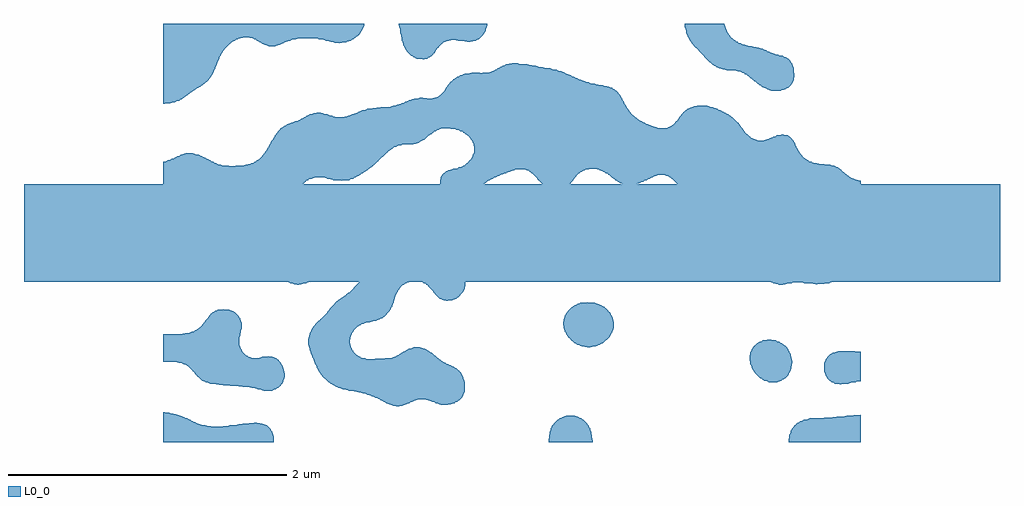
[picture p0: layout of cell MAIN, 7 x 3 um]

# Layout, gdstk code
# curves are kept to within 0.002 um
import gdstk
lib = gdstk.Library(unit=1e-6, precision=1e-09)
def R(c, l, rs):  # rectangles x0, y0, x1, y1
    for r in rs: c.add(gdstk.rectangle(r[:2], r[2:], *l))
def P(c, l, *ps):  # polygons
    for p in ps: c.add(gdstk.Polygon(p, *l))
L0_0 = (0, 0)

main = lib.new_cell('MAIN')
R(main, L0_0, [(-3.5,-0.35,3.5,0.35)])
P(main, L0_0, [(-2.48,0.929),(-2.456,0.93),(-2.413,0.94),(-2.369,0.96),(-2.28,1.025),(-2.22,1.06),(-2.196,1.08),(-2.16,1.119),(-2.15,1.136),(-2.13,1.177),(-2.127,1.19),(-2.12,1.2),(-2.115,1.22),(-2.1,1.25),(-2.098,1.26),(-2.069,1.31),(-2.04,1.342),(-2.01,1.368),(-1.96,1.395),(-1.91,1.405),(-1.89,1.404),(-1.86,1.397),(-1.775,1.35),(-1.745,1.34),(-1.73,1.339),(-1.698,1.34),(-1.665,1.35),(-1.618,1.37),(-1.61,1.376),(-1.58,1.386),(-1.53,1.396),(-1.5,1.398),(-1.41,1.396),(-1.35,1.386),(-1.3,1.37),(-1.24,1.362),(-1.22,1.364),(-1.184,1.37),(-1.158,1.38),(-1.11,1.41),(-1.08,1.447),(-1.06,1.489),(-1.058,1.5),(-2.5,1.5),(-2.5,0.928)],
  [(-0.63,1.246),(-0.608,1.25),(-0.589,1.26),(-0.559,1.29),(-0.538,1.32),(-0.51,1.351),(-0.49,1.367),(-0.47,1.377),(-0.42,1.386),(-0.32,1.372),(-0.3,1.372),(-0.259,1.38),(-0.25,1.387),(-0.24,1.39),(-0.217,1.41),(-0.2,1.431),(-0.18,1.478),(-0.177,1.5),(-0.813,1.5),(-0.793,1.41),(-0.79,1.383),(-0.784,1.37),(-0.78,1.348),(-0.76,1.309),(-0.721,1.27),(-0.704,1.26),(-0.68,1.249)],
  [(1.928,1.02),(1.958,1.03),(1.99,1.05),(2.01,1.074),(2.02,1.095),(2.024,1.13),(2.02,1.186),(2.01,1.213),(2,1.23),(1.981,1.25),(1.941,1.27),(1.88,1.284),(1.823,1.31),(1.81,1.313),(1.8,1.32),(1.77,1.33),(1.74,1.334),(1.721,1.34),(1.69,1.343),(1.63,1.362),(1.59,1.387),(1.565,1.41),(1.545,1.44),(1.532,1.47),(1.524,1.5),(1.238,1.5),(1.24,1.475),(1.246,1.46),(1.25,1.434),(1.27,1.389),(1.29,1.36),(1.394,1.25),(1.449,1.2),(1.488,1.18),(1.528,1.17),(1.6,1.166),(1.64,1.157),(1.68,1.137),(1.778,1.06),(1.83,1.03),(1.87,1.019)],
  [(-2.29,-0.081),(-2.27,-0.07),(-2.259,-0.06),(-2.24,-0.032),(-2.214,0.02),(-2.197,0.04),(-2.18,0.053),(-2.14,0.067),(-2.11,0.067),(-2.087,0.06),(-2.03,0.052),(-1.98,0.06),(-1.95,0.079),(-1.89,0.137),(-1.85,0.155),(-1.81,0.155),(-1.77,0.137),(-1.734,0.1),(-1.722,0.08),(-1.72,0.069),(-1.72,0.665),(-1.763,0.59),(-1.784,0.56),(-1.81,0.533),(-1.84,0.512),(-1.86,0.502),(-1.88,0.494),(-1.93,0.483),(-2.02,0.48),(-2.08,0.485),(-2.13,0.502),(-2.246,0.56),(-2.29,0.571),(-2.347,0.57),(-2.377,0.56),(-2.45,0.525),(-2.47,0.52),(-2.48,0.514),(-2.5,0.512),(-2.5,-0.012),(-2.48,-0.013),(-2.43,-0.032),(-2.352,-0.08),(-2.32,-0.085)],
  [(-1.51,-0.366),(-1.477,-0.36),(-1.429,-0.34),(-1.429,-0.03),(-1.445,0.01),(-1.45,0.031),(-1.47,0.074),(-1.537,0.16),(-1.549,0.19),(-1.552,0.23),(-1.545,0.27),(-1.538,0.29),(-1.517,0.33),(-1.5,0.35),(-1.47,0.377),(-1.45,0.388),(-1.429,0.394),(-1.429,0.857),(-1.451,0.85),(-1.54,0.803),(-1.585,0.79),(-1.631,0.77),(-1.657,0.75),(-1.676,0.73),(-1.7,0.699),(-1.72,0.665),(-1.72,0.069),(-1.714,0.06),(-1.704,0.01),(-1.702,-0.03),(-1.705,-0.08),(-1.71,-0.1),(-1.713,-0.16),(-1.71,-0.217),(-1.7,-0.25),(-1.68,-0.287),(-1.662,-0.31),(-1.629,-0.34),(-1.591,-0.36),(-1.54,-0.37)],
  [(-1.429,-0.678),(-1.45,-0.718),(-1.46,-0.758),(-1.46,-0.8),(-1.453,-0.82),(-1.45,-0.841),(-1.44,-0.87),(-1.433,-0.88),(-1.429,-0.896)],
  [(-1.17,0.379),(-1.14,0.39),(-1.14,0.851),(-1.2,0.832),(-1.25,0.831),(-1.28,0.835),(-1.289,0.84),(-1.31,0.843),(-1.324,0.85),(-1.34,0.852),(-1.359,0.86),(-1.4,0.862),(-1.429,0.857),(-1.429,0.394),(-1.4,0.399),(-1.37,0.399),(-1.34,0.396),(-1.281,0.38),(-1.22,0.374)],
  [(-1.42,-0.333),(-1.397,-0.32),(-1.373,-0.3),(-1.35,-0.272),(-1.34,-0.254),(-1.332,-0.22),(-1.331,-0.2),(-1.34,-0.163),(-1.35,-0.143),(-1.406,-0.07),(-1.429,-0.03),(-1.429,-0.34)],
  [(-1.14,-0.846),(-1.155,-0.82),(-1.164,-0.78),(-1.158,-0.74),(-1.14,-0.71),(-1.14,-0.4),(-1.18,-0.436),(-1.231,-0.47),(-1.267,-0.5),(-1.311,-0.55),(-1.333,-0.58),(-1.41,-0.655),(-1.429,-0.678),(-1.429,-0.896),(-1.4,-0.965),(-1.38,-1.001),(-1.337,-1.05),(-1.301,-1.08),(-1.284,-1.09),(-1.245,-1.11),(-1.215,-1.12),(-1.19,-1.123),(-1.17,-1.13),(-1.14,-1.133)],
  [(-1.139,0.39),(-1.07,0.429),(-1,0.479),(-0.91,0.565),(-0.91,0.902),(-0.97,0.9),(-1.039,0.89),(-1.1,0.87),(-1.11,0.863),(-1.14,0.851)],
  [(-1.135,-0.7),(-1.11,-0.674),(-1.08,-0.654),(-1.05,-0.643),(-0.975,-0.63),(-0.93,-0.61),(-0.91,-0.593),(-0.91,0.096),(-0.964,0.09),(-1.003,0.07),(-1.03,0.05),(-1.04,0.039),(-1.061,0.01),(-1.07,-0.009),(-1.08,-0.053),(-1.08,-0.083),(-1.07,-0.14),(-1.062,-0.16),(-1.06,-0.181),(-1.053,-0.2),(-1.052,-0.26),(-1.063,-0.3),(-1.074,-0.32),(-1.094,-0.35),(-1.14,-0.4),(-1.14,-0.71)],
  [(-0.91,-0.9),(-1.03,-0.905),(-1.08,-0.896),(-1.11,-0.878),(-1.14,-0.846),(-1.14,-1.133),(-1.09,-1.143),(-1.02,-1.163),(-0.97,-1.183),(-0.91,-1.214)],
  [(-0.904,0.57),(-0.86,0.606),(-0.82,0.626),(-0.77,0.636),(-0.69,0.64),(-0.646,0.66),(-0.614,0.684),(-0.614,0.966),(-0.661,0.97),(-0.71,0.961),(-0.767,0.94),(-0.78,0.932),(-0.84,0.913),(-0.89,0.903),(-0.91,0.902),(-0.91,0.565)],
  [(-0.907,-0.59),(-0.879,-0.56),(-0.861,-0.53),(-0.849,-0.5),(-0.836,-0.45),(-0.817,-0.41),(-0.78,-0.372),(-0.75,-0.355),(-0.7,-0.344),(-0.68,-0.344),(-0.64,-0.354),(-0.614,-0.37),(-0.614,0.119),(-0.65,0.102),(-0.68,0.094),(-0.76,0.081),(-0.81,0.08),(-0.91,0.096),(-0.91,-0.593)],
  [(-0.79,-1.24),(-0.758,-1.23),(-0.71,-1.205),(-0.68,-1.195),(-0.66,-1.192),(-0.614,-1.195),(-0.614,-0.837),(-0.627,-0.83),(-0.66,-0.82),(-0.705,-0.82),(-0.74,-0.83),(-0.83,-0.884),(-0.86,-0.896),(-0.91,-0.9),(-0.91,-1.214),(-0.881,-1.23),(-0.852,-1.24)],
  [(-0.61,0.688),(-0.56,0.725),(-0.54,0.736),(-0.51,0.747),(-0.45,0.75),(-0.411,0.746),(-0.411,1.107),(-0.43,1.092),(-0.46,1.06),(-0.484,1.02),(-0.52,0.983),(-0.54,0.972),(-0.57,0.965),(-0.614,0.966),(-0.614,0.684)],
  [(-0.44,-0.483),(-0.422,-0.48),(-0.411,-0.474),(-0.411,-0.24),(-0.437,-0.21),(-0.447,-0.19),(-0.456,-0.16),(-0.458,-0.14),(-0.456,-0.12),(-0.447,-0.09),(-0.437,-0.07),(-0.411,-0.033),(-0.411,0.461),(-0.457,0.45),(-0.49,0.43),(-0.5,0.417),(-0.51,0.4),(-0.513,0.38),(-0.512,0.28),(-0.514,0.26),(-0.523,0.23),(-0.543,0.19),(-0.565,0.16),(-0.59,0.135),(-0.614,0.119),(-0.614,-0.37),(-0.59,-0.391),(-0.551,-0.44),(-0.519,-0.47),(-0.49,-0.482),(-0.47,-0.485)],
  [(-0.44,-1.23),(-0.411,-1.22),(-0.411,-0.965),(-0.49,-0.927),(-0.52,-0.907),(-0.589,-0.85),(-0.614,-0.837),(-0.614,-1.195),(-0.515,-1.23)],
  [(-0.408,-0.03),(-0.37,0.02),(-0.34,0.078),(-0.338,0.09),(-0.33,0.107),(-0.326,0.13),(-0.32,0.141),(-0.318,0.16),(-0.31,0.178),(-0.306,0.2),(-0.296,0.23),(-0.277,0.27),(-0.257,0.3),(-0.239,0.32),(-0.21,0.347),(-0.18,0.368),(-0.18,1.15),(-0.22,1.147),(-0.28,1.15),(-0.346,1.14),(-0.392,1.12),(-0.411,1.107),(-0.411,0.746),(-0.36,0.728),(-0.34,0.717),(-0.31,0.693),(-0.284,0.66),(-0.271,0.62),(-0.271,0.59),(-0.275,0.57),(-0.283,0.55),(-0.302,0.52),(-0.33,0.493),(-0.35,0.481),(-0.39,0.465),(-0.411,0.461),(-0.411,-0.033)],
  [(-0.41,-0.473),(-0.4,-0.47),(-0.387,-0.46),(-0.35,-0.42),(-0.34,-0.4),(-0.336,-0.36),(-0.34,-0.328),(-0.35,-0.308),(-0.37,-0.282),(-0.411,-0.24)],
  [(-0.41,-1.219),(-0.379,-1.2),(-0.36,-1.18),(-0.35,-1.164),(-0.34,-1.14),(-0.338,-1.09),(-0.34,-1.067),(-0.35,-1.034),(-0.36,-1.014),(-0.38,-0.988),(-0.4,-0.97),(-0.411,-0.965)],
  [(-0.17,0.375),(-0.08,0.418),(-0.068,0.42),(-0.06,0.426),(-0.043,0.43),(0,0.448),(0.016,0.45),(0.03,0.456),(0.06,0.459),(0.09,0.457),(0.12,0.445),(0.15,0.424),(0.209,0.36),(0.247,0.33),(0.265,0.32),(0.295,0.31),(0.34,0.309),(0.374,0.32),(0.39,0.329),(0.413,0.35),(0.453,0.4),(0.48,0.428),(0.51,0.448),(0.53,0.457),(0.56,0.46),(0.61,0.458),(0.64,0.448),(0.673,0.43),(0.673,1.053),(0.649,1.06),(0.61,1.064),(0.53,1.084),(0.52,1.09),(0.48,1.102),(0.378,1.15),(0.352,1.16),(0.33,1.164),(0.32,1.17),(0.29,1.174),(0.273,1.18),(0.24,1.183),(0.22,1.19),(0.19,1.193),(0.167,1.2),(0.14,1.202),(0.111,1.21),(0.02,1.219),(-0.042,1.21),(-0.065,1.2),(-0.13,1.163),(-0.16,1.152),(-0.18,1.15),(-0.18,0.368)],
  [(0.89,0.35),(0.945,0.37),(1.02,0.407),(1.05,0.416),(1.09,0.417),(1.12,0.407),(1.12,0.757),(1.09,0.751),(1.04,0.756),(0.98,0.775),(0.92,0.804),(0.88,0.833),(0.844,0.87),(0.823,0.9),(0.781,0.98),(0.76,1.008),(0.748,1.02),(0.72,1.039),(0.693,1.05),(0.673,1.053),(0.673,0.43),(0.757,0.37),(0.797,0.35),(0.84,0.345)],
  [(1.12,0.11),(1.1,0.106),(1.06,0.113),(0.994,0.14),(0.94,0.141),(0.91,0.13),(0.88,0.101),(0.87,0.084),(0.86,0.053),(0.86,0.018),(0.869,-0.01),(0.88,-0.028),(0.9,-0.05),(0.933,-0.07),(0.962,-0.08),(1.03,-0.093),(1.08,-0.114),(1.12,-0.136)],
  [(1.95,-0.368),(2.05,-0.353),(2.07,-0.354),(2.095,-0.36),(2.18,-0.366),(2.274,-0.36),(2.31,-0.35),(2.32,-0.343),(2.332,-0.34),(2.38,-0.31),(2.4,-0.294),(2.44,-0.274),(2.47,-0.264),(2.5,-0.26),(2.5,0.047),(2.47,0.065),(2.456,0.08),(2.445,0.1),(2.442,0.12),(2.443,0.13),(2.452,0.15),(2.48,0.177),(2.5,0.187),(2.5,0.374),(2.46,0.384),(2.42,0.402),(2.39,0.424),(2.35,0.461),(2.319,0.48),(2.283,0.49),(2.2,0.495),(2.16,0.504),(2.13,0.516),(2.1,0.535),(2.074,0.56),(2.053,0.59),(2.03,0.641),(2.01,0.672),(1.992,0.69),(1.976,0.7),(1.94,0.707),(1.9,0.701),(1.84,0.673),(1.81,0.664),(1.77,0.663),(1.77,-0.292),(1.821,-0.33),(1.873,-0.36),(1.913,-0.37)],
  [(1.77,0.32),(1.209,0.32),(1.218,0.3),(1.226,0.26),(1.217,0.21),(1.198,0.17),(1.174,0.14),(1.14,0.114),(1.12,0.11),(1.12,-0.136),(1.146,-0.15),(1.196,-0.17),(1.21,-0.172),(1.226,-0.18),(1.24,-0.182),(1.288,-0.2),(1.31,-0.204),(1.32,-0.21),(1.35,-0.214),(1.368,-0.22),(1.45,-0.224),(1.49,-0.233),(1.502,-0.24),(1.56,-0.261),(1.6,-0.265),(1.7,-0.263),(1.74,-0.276),(1.77,-0.292)],
  [(1.77,0.663),(1.73,0.675),(1.7,0.694),(1.673,0.72),(1.63,0.78),(1.592,0.82),(1.551,0.85),(1.494,0.88),(1.446,0.9),(1.4,0.911),(1.35,0.913),(1.307,0.91),(1.29,0.902),(1.278,0.9),(1.259,0.89),(1.23,0.865),(1.179,0.8),(1.159,0.78),(1.14,0.765),(1.12,0.757),(1.12,0.407),(1.14,0.396),(1.159,0.38),(1.189,0.35),(1.209,0.32),(1.77,0.32)],
  [(0.59,-0.25),(0.616,-0.24),(0.632,-0.23),(0.661,-0.2),(0.68,-0.16),(0.683,-0.13),(0.68,-0.093),(0.67,-0.07),(0.66,-0.057),(0.61,-0.01),(0.58,0.01),(0.559,0.02),(0.522,0.03),(0.43,0.031),(0.31,0.04),(0.18,0.022),(0.07,0.026),(0.019,0.02),(-0.005,0.01),(-0.036,-0.01),(-0.06,-0.035),(-0.08,-0.07),(-0.083,-0.1),(-0.081,-0.14),(-0.07,-0.166),(-0.061,-0.18),(-0.03,-0.21),(0.014,-0.23),(0.05,-0.233),(0.088,-0.23),(0.18,-0.191),(0.21,-0.184),(0.25,-0.183),(0.39,-0.203),(0.405,-0.21),(0.42,-0.212),(0.484,-0.24),(0.516,-0.25)],
  [(-2.03,-0.264),(-2.02,-0.261),(-2.008,-0.25),(-1.999,-0.23),(-2.002,-0.21),(-2.018,-0.19),(-2.03,-0.186),(-2.05,-0.184),(-2.07,-0.19),(-2.081,-0.2),(-2.089,-0.22),(-2.09,-0.23),(-2.081,-0.25),(-2.071,-0.26),(-2.05,-0.266)],
  [(0.56,-0.818),(0.605,-0.81),(0.62,-0.802),(0.631,-0.8),(0.649,-0.79),(0.69,-0.755),(0.71,-0.73),(0.713,-0.72),(0.72,-0.711),(0.73,-0.675),(0.73,-0.638),(0.72,-0.602),(0.71,-0.583),(0.69,-0.557),(0.66,-0.53),(0.621,-0.51),(0.6,-0.505),(0.592,-0.5),(0.54,-0.495),(0.491,-0.5),(0.448,-0.52),(0.42,-0.54),(0.4,-0.561),(0.38,-0.594),(0.37,-0.624),(0.37,-0.676),(0.38,-0.708),(0.4,-0.742),(0.426,-0.77),(0.45,-0.79),(0.49,-0.81),(0.54,-0.819)],
  [(-1.96,-0.597),(-1.988,-0.57),(-2.028,-0.55),(-2.07,-0.546),(-2.111,-0.55),(-2.132,-0.56),(-2.159,-0.58),(-2.222,-0.66),(-2.25,-0.687),(-2.28,-0.705),(-2.31,-0.716),(-2.38,-0.726),(-2.5,-0.725),(-2.5,-0.922),(-2.41,-0.924),(-2.37,-0.932),(-2.34,-0.944),(-2.306,-0.97),(-2.24,-1.043),(-2.217,-1.06),(-2.197,-1.07),(-2.163,-1.08),(-2.12,-1.084),(-2.095,-1.09),(-1.96,-1.099)],
  [(-1.72,-1.13),(-1.693,-1.12),(-1.677,-1.11),(-1.65,-1.083),(-1.64,-1.066),(-1.63,-1.031),(-1.63,-1.006),(-1.64,-0.966),(-1.66,-0.929),(-1.668,-0.92),(-1.69,-0.9),(-1.709,-0.89),(-1.75,-0.885),(-1.798,-0.89),(-1.82,-0.897),(-1.86,-0.897),(-1.89,-0.888),(-1.91,-0.876),(-1.927,-0.86),(-1.947,-0.83),(-1.956,-0.8),(-1.957,-0.76),(-1.94,-0.687),(-1.939,-0.66),(-1.94,-0.642),(-1.95,-0.612),(-1.96,-0.597),(-1.96,-1.099),(-1.89,-1.103),(-1.867,-1.11),(-1.84,-1.113),(-1.825,-1.12),(-1.782,-1.13)],
  [(1.9,-1.07),(1.931,-1.06),(1.949,-1.05),(1.98,-1.021),(1.99,-1.004),(2.001,-0.98),(2.009,-0.93),(2,-0.871),(1.99,-0.849),(1.97,-0.82),(1.949,-0.8),(1.916,-0.78),(1.9,-0.776),(1.89,-0.77),(1.86,-0.767),(1.8,-0.77),(1.76,-0.789),(1.737,-0.81),(1.72,-0.832),(1.71,-0.855),(1.706,-0.89),(1.71,-0.941),(1.72,-0.967),(1.74,-1.001),(1.779,-1.04),(1.813,-1.06),(1.843,-1.07)],
  [(2.39,-1.081),(2.41,-1.08),(2.43,-1.073),(2.464,-1.07),(2.5,-1.062),(2.5,-0.85),(2.33,-0.85),(2.3,-0.86),(2.283,-0.87),(2.26,-0.891),(2.25,-0.907),(2.24,-0.932),(2.239,-0.99),(2.25,-1.023),(2.26,-1.04),(2.28,-1.061),(2.315,-1.08),(2.35,-1.084)],
  [(-1.707,-1.49),(-1.71,-1.456),(-1.729,-1.41),(-1.747,-1.39),(-1.78,-1.37),(-1.85,-1.361),(-1.957,-1.37),(-1.99,-1.378),(-2.024,-1.38),(-2.06,-1.387),(-2.18,-1.386),(-2.23,-1.376),(-2.241,-1.37),(-2.26,-1.366),(-2.309,-1.34),(-2.32,-1.337),(-2.329,-1.33),(-2.34,-1.328),(-2.352,-1.32),(-2.378,-1.31),(-2.458,-1.29),(-2.5,-1.287),(-2.5,-1.5),(-1.707,-1.5)],
  [(2.5,-1.305),(2.403,-1.31),(2.37,-1.317),(2.27,-1.325),(2.134,-1.33),(2.094,-1.34),(2.08,-1.348),(2.069,-1.35),(2.04,-1.369),(2.01,-1.402),(1.99,-1.448),(1.984,-1.5),(2.5,-1.5)],
  [(0.578,-1.49),(0.57,-1.43),(0.564,-1.42),(0.56,-1.402),(0.54,-1.369),(0.511,-1.34),(0.478,-1.32),(0.447,-1.31),(0.393,-1.31),(0.36,-1.32),(0.341,-1.33),(0.316,-1.35),(0.289,-1.38),(0.27,-1.427),(0.264,-1.5),(0.578,-1.5)])

lib.write_gds('MAIN.gds')
